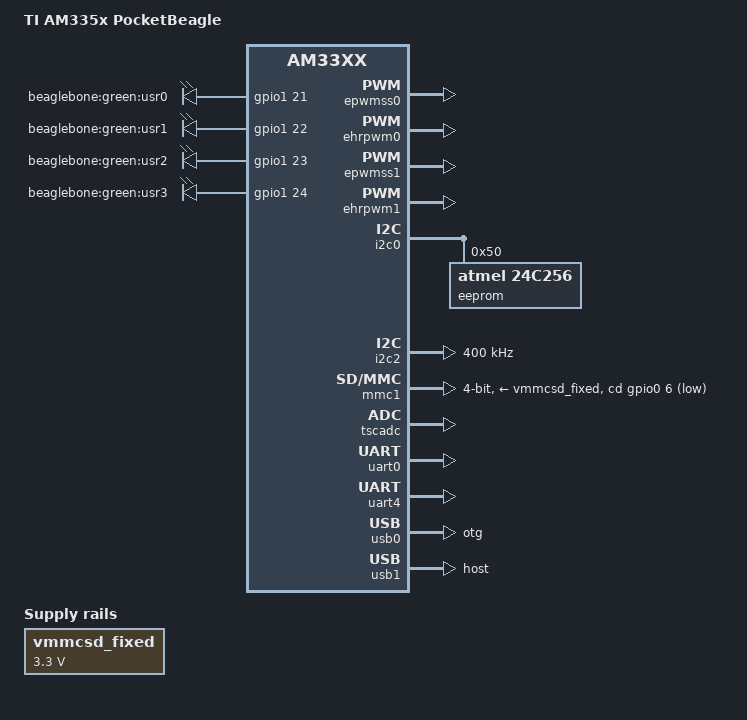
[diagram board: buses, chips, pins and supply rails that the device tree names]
// SPDX-License-Identifier: GPL-2.0
/*
 * Copyright (C) 2012 Texas Instruments Incorporated - https://www.ti.com/
 *
 * Author: Robert Nelson <robertcnelson@gmail.com>
 */
/dts-v1/;

#include "am33xx.dtsi"
#include "am335x-osd335x-common.dtsi"

/ {
	model = "TI AM335x PocketBeagle";
	compatible = "ti,am335x-pocketbeagle", "ti,am335x-bone", "ti,am33xx";

	chosen {
		stdout-path = &uart0;
	};

	leds {
		pinctrl-names = "default";
		pinctrl-0 = <&usr_leds_pins>;

		compatible = "gpio-leds";

		led-usr0 {
			label = "beaglebone:green:usr0";
			gpios = <&gpio1 21 GPIO_ACTIVE_HIGH>;
			linux,default-trigger = "heartbeat";
			default-state = "off";
		};

		led-usr1 {
			label = "beaglebone:green:usr1";
			gpios = <&gpio1 22 GPIO_ACTIVE_HIGH>;
			linux,default-trigger = "mmc0";
			default-state = "off";
		};

		led-usr2 {
			label = "beaglebone:green:usr2";
			gpios = <&gpio1 23 GPIO_ACTIVE_HIGH>;
			linux,default-trigger = "cpu0";
			default-state = "off";
		};

		led-usr3 {
			label = "beaglebone:green:usr3";
			gpios = <&gpio1 24 GPIO_ACTIVE_HIGH>;
			default-state = "off";
		};
	};

	vmmcsd_fixed: fixedregulator0 {
		compatible = "regulator-fixed";
		regulator-name = "vmmcsd_fixed";
		regulator-min-microvolt = <3300000>;
		regulator-max-microvolt = <3300000>;
	};
};

&gpio0 {
	gpio-line-names =
		"NC",
		"NC",
		"P1.08 [SPI0_CLK]",
		"P1.10 [SPI0_MISO]",
		"P1.12 [SPI0_MOSI]",
		"P1.06 [SPI0_CS]",
		"[MMC0_CD]",
		"P2.29 [SPI1_CLK]",
		"[SYSBOOT 12]",
		"[SYSBOOT 13]",
		"[SYSBOOT 14]",
		"[SYSBOOT 15]",
		"P1.26 [I2C2_SDA]",
		"P1.28 [I2C2_SCL]",
		"P2.11 [I2C1_SDA]",
		"P2.09 [I2C1_SCL]",
		"NC",
		"NC",
		"NC",
		"P2.31 [SPI1_CS]",
		"P1.20 [PRU0.16]",
		"NC",
		"NC",
		"P2.03",
		"NC",
		"NC",
		"P1.34",
		"P2.19",
		"NC",
		"NC",
		"P2.05 [UART4_RX]",
		"P2.07 [UART4_TX]";
};

&gpio1 {
	gpio-line-names =
		"NC",
		"NC",
		"NC",
		"NC",
		"NC",
		"NC",
		"NC",
		"NC",
		"NC",
		"P2.25 [SPI1_MOSI]",
		"P1.32 [UART0_RX]",
		"P1.30 [UART0_TX]",
		"P2.24",
		"P2.33",
		"P2.22",
		"P2.18",
		"NC",
		"NC",
		"P2.01 [PWM1A]",
		"NC",
		"P2.10",
		"[USR LED 0]",
		"[USR LED 1]",
		"[USR LED 2]",
		"[USR LED 3]",
		"P2.06",
		"P2.04",
		"P2.02",
		"P2.08",
		"NC",
		"NC",
		"NC";
};

&gpio2 {
	gpio-line-names =
		"P2.20",
		"P2.17",
		"NC",
		"NC",
		"NC",
		"[EEPROM_WP]",
		"[SYSBOOT 0]",
		"[SYSBOOT 1]",
		"[SYSBOOT 2]",
		"[SYSBOOT 3]",
		"[SYSBOOT 4]",
		"[SYSBOOT 5]",
		"[SYSBOOT 6]",
		"[SYSBOOT 7]",
		"[SYSBOOT 8]",
		"[SYSBOOT 9]",
		"[SYSBOOT 10]",
		"[SYSBOOT 11]",
		"NC",
		"NC",
		"NC",
		"NC",
		"P2.35 [AIN5]",
		"P1.02 [AIN6]",
		"P1.35 [PRU1.10]",
		"P1.04 [PRU1.11]",
		"[MMC0_DAT3]",
		"[MMC0_DAT2]",
		"[MMC0_DAT1]",
		"[MMC0_DAT0]",
		"[MMC0_CLK]",
		"[MMC0_CMD]";
};

&gpio3 {
	gpio-line-names =
		"NC",
		"NC",
		"NC",
		"NC",
		"NC",
		"[I2C0_SDA]",
		"[I2C0_SCL]",
		"[JTAG EMU0]",
		"[JTAG EMU1]",
		"NC",
		"NC",
		"NC",
		"NC",
		"P1.03 [USB1]",
		"P1.36 [PWM0A]",
		"P1.33 [PRU0.1]",
		"P2.32 [PRU0.2]",
		"P2.30 [PRU0.3]",
		"P1.31 [PRU0.4]",
		"P2.34 [PRU0.5]",
		"P2.28 [PRU0.6]",
		"P1.29 [PRU0.7]",
		"NC",
		"NC",
		"NC",
		"NC",
		"NC",
		"NC",
		"NC",
		"NC",
		"NC",
		"NC";
};

&am33xx_pinmux {

	compatible = "pinconf-single";
	pinctrl-names = "default";

	pinctrl-0 =   < &P2_03_gpio &P1_34_gpio &P2_19_gpio &P2_24_gpio
			&P2_33_gpio &P2_22_gpio &P2_18_gpio &P2_10_gpio
			&P2_06_gpio &P2_04_gpio &P2_02_gpio &P2_08_gpio
			&P2_17_gpio >;

	/* P2_03 (ZCZ ball T10) gpio0_23 0x824 PIN 9 */
	P2_03_gpio: pinmux_P2_03_gpio {
		pinctrl-single,pins = <
			AM33XX_PADCONF(AM335X_PIN_GPMC_AD9, PIN_INPUT_PULLUP, MUX_MODE7)
		>;
		pinctrl-single,bias-pullup   =   < 0x10  0x10  0x00  0x18>;
		pinctrl-single,bias-pulldown   = < 0x10  0x00  0x10  0x18>;
	};

	/* P1_34 (ZCZ ball T11) gpio0_26 0x828 PIN 10 */
	P1_34_gpio: pinmux_P1_34_gpio {
		pinctrl-single,pins = <
			AM33XX_PADCONF(AM335X_PIN_GPMC_AD10, PIN_INPUT_PULLUP, MUX_MODE7)
		>;
		pinctrl-single,bias-pullup   =   < 0x10  0x10  0x00  0x18>;
		pinctrl-single,bias-pulldown   = < 0x10  0x00  0x10  0x18>;
	};

	/* P2_19 (ZCZ ball U12) gpio0_27 0x82c PIN 11 */
	P2_19_gpio: pinmux_P2_19_gpio {
		pinctrl-single,pins = <
			AM33XX_PADCONF(AM335X_PIN_GPMC_AD11, PIN_INPUT_PULLUP, MUX_MODE7)
		>;
		pinctrl-single,bias-pullup   =   < 0x10  0x10  0x00  0x18>;
		pinctrl-single,bias-pulldown   = < 0x10  0x00  0x10  0x18>;
	};

	/* P2_24 (ZCZ ball T12) gpio1_12 0x830 PIN 12 */
	P2_24_gpio: pinmux_P2_24_gpio {
		pinctrl-single,pins = <
			AM33XX_PADCONF(AM335X_PIN_GPMC_AD12, PIN_INPUT_PULLUP, MUX_MODE7)
		>;
		pinctrl-single,bias-pullup   =   < 0x10  0x10  0x00  0x18>;
		pinctrl-single,bias-pulldown   = < 0x10  0x00  0x10  0x18>;
	};

	/* P2_33 (ZCZ ball R12) gpio1_13 0x834 PIN 13 */
	P2_33_gpio: pinmux_P2_33_gpio {
		pinctrl-single,pins = <
			AM33XX_PADCONF(AM335X_PIN_GPMC_AD13, PIN_INPUT_PULLUP, MUX_MODE7)
		>;
		pinctrl-single,bias-pullup   =   < 0x10  0x10  0x00  0x18>;
		pinctrl-single,bias-pulldown   = < 0x10  0x00  0x10  0x18>;
	};

	/* P2_22 (ZCZ ball V13) gpio1_14 0x838 PIN 14 */
	P2_22_gpio: pinmux_P2_22_gpio {
		pinctrl-single,pins = <
			AM33XX_PADCONF(AM335X_PIN_GPMC_AD14, PIN_INPUT_PULLUP, MUX_MODE7)
		>;
		pinctrl-single,bias-pullup   =   < 0x10  0x10  0x00  0x18>;
		pinctrl-single,bias-pulldown   = < 0x10  0x00  0x10  0x18>;
	};

	/* P2_18 (ZCZ ball U13) gpio1_15 0x83c PIN 15 */
	P2_18_gpio: pinmux_P2_18_gpio {
		pinctrl-single,pins = <
			AM33XX_PADCONF(AM335X_PIN_GPMC_AD15, PIN_INPUT_PULLUP, MUX_MODE7)
		>;
		pinctrl-single,bias-pullup   =   < 0x10  0x10  0x00  0x18>;
		pinctrl-single,bias-pulldown   = < 0x10  0x00  0x10  0x18>;
	};

	/* P2_10 (ZCZ ball R14) gpio1_20 0x850 PIN 20 */
	P2_10_gpio: pinmux_P2_10_gpio {
		pinctrl-single,pins = <
			AM33XX_PADCONF(AM335X_PIN_GPMC_A4, PIN_INPUT_PULLUP, MUX_MODE7)
		>;
		pinctrl-single,bias-pullup   =   < 0x10  0x10  0x00  0x18>;
		pinctrl-single,bias-pulldown   = < 0x10  0x00  0x10  0x18>;
	};

	/* P2_06 (ZCZ ball U16) gpio1_25 0x864 PIN 25 */
	P2_06_gpio: pinmux_P2_06_gpio {
		pinctrl-single,pins = <
			AM33XX_PADCONF(AM335X_PIN_GPMC_A9, PIN_INPUT_PULLUP, MUX_MODE7)
		>;
		pinctrl-single,bias-pullup   =   < 0x10  0x10  0x00  0x18>;
		pinctrl-single,bias-pulldown   = < 0x10  0x00  0x10  0x18>;
	};

	/* P2_04 (ZCZ ball T16) gpio1_26 0x868 PIN 26 */
	P2_04_gpio: pinmux_P2_04_gpio {
		pinctrl-single,pins = <
			AM33XX_PADCONF(AM335X_PIN_GPMC_A10, PIN_INPUT_PULLUP, MUX_MODE7)
		>;
		pinctrl-single,bias-pullup   =   < 0x10  0x10  0x00  0x18>;
		pinctrl-single,bias-pulldown   = < 0x10  0x00  0x10  0x18>;
	};

	/* P2_02 (ZCZ ball V17) gpio1_27 0x86c PIN 27 */
	P2_02_gpio: pinmux_P2_02_gpio {
		pinctrl-single,pins = <
			AM33XX_PADCONF(AM335X_PIN_GPMC_A11, PIN_INPUT_PULLUP, MUX_MODE7)
		>;
		pinctrl-single,bias-pullup   =   < 0x10  0x10  0x00  0x18>;
		pinctrl-single,bias-pulldown   = < 0x10  0x00  0x10  0x18>;
	};

	/* P2_08 (ZCZ ball U18) gpio1_28 0x878 PIN 30 */
	P2_08_gpio: pinmux_P2_08_gpio {
		pinctrl-single,pins = <
			AM33XX_PADCONF(AM335X_PIN_GPMC_BEN1, PIN_INPUT_PULLDOWN, MUX_MODE7)
		>;
		pinctrl-single,bias-pullup   =   < 0x00  0x10  0x00  0x18>;
		pinctrl-single,bias-pulldown   = < 0x00  0x00  0x10  0x18>;
	};

	/* P2_17 (ZCZ ball V12) gpio2_1 0x88c PIN 35 */
	P2_17_gpio: pinmux_P2_17_gpio {
		pinctrl-single,pins = <
			AM33XX_PADCONF(AM335X_PIN_GPMC_CLK, PIN_INPUT_PULLUP, MUX_MODE7)
		>;
		pinctrl-single,bias-pullup   =   < 0x10  0x10  0x00  0x18>;
		pinctrl-single,bias-pulldown   = < 0x10  0x00  0x10  0x18>;
	};

	i2c2_pins: pinmux-i2c2-pins {
		pinctrl-single,pins = <
			AM33XX_PADCONF(AM335X_PIN_UART1_RTSN, PIN_INPUT_PULLUP, MUX_MODE3)	/* (D17) uart1_rtsn.I2C2_SCL */
			AM33XX_PADCONF(AM335X_PIN_UART1_CTSN, PIN_INPUT_PULLUP, MUX_MODE3)	/* (D18) uart1_ctsn.I2C2_SDA */
		>;
	};

	ehrpwm0_pins: pinmux-ehrpwm0-pins {
		pinctrl-single,pins = <
			AM33XX_PADCONF(AM335X_PIN_MCASP0_ACLKX, PIN_OUTPUT_PULLDOWN, MUX_MODE1)	/* (A13) mcasp0_aclkx.ehrpwm0A */
		>;
	};

	ehrpwm1_pins: pinmux-ehrpwm1-pins {
		pinctrl-single,pins = <
			AM33XX_PADCONF(AM335X_PIN_GPMC_A2, PIN_OUTPUT_PULLDOWN, MUX_MODE6)	/* (U14) gpmc_a2.ehrpwm1A */
		>;
	};

	mmc0_pins: pinmux-mmc0-pins {
		pinctrl-single,pins = <
			AM33XX_PADCONF(AM335X_PIN_SPI0_CS1, PIN_INPUT, MUX_MODE7)		/* (C15) spi0_cs1.gpio0[6] */
			AM33XX_PADCONF(AM335X_PIN_MMC0_DAT0, PIN_INPUT_PULLUP, MUX_MODE0)
			AM33XX_PADCONF(AM335X_PIN_MMC0_DAT1, PIN_INPUT_PULLUP, MUX_MODE0)
			AM33XX_PADCONF(AM335X_PIN_MMC0_DAT2, PIN_INPUT_PULLUP, MUX_MODE0)
			AM33XX_PADCONF(AM335X_PIN_MMC0_DAT3, PIN_INPUT_PULLUP, MUX_MODE0)
			AM33XX_PADCONF(AM335X_PIN_MMC0_CMD, PIN_INPUT_PULLUP, MUX_MODE0)
			AM33XX_PADCONF(AM335X_PIN_MMC0_CLK, PIN_INPUT_PULLUP, MUX_MODE0)
		>;
	};

	spi0_pins: pinmux-spi0-pins {
		pinctrl-single,pins = <
			AM33XX_PADCONF(AM335X_PIN_SPI0_SCLK, PIN_INPUT_PULLUP, MUX_MODE0)
			AM33XX_PADCONF(AM335X_PIN_SPI0_D0, PIN_INPUT_PULLUP, MUX_MODE0)
			AM33XX_PADCONF(AM335X_PIN_SPI0_D1, PIN_INPUT_PULLUP, MUX_MODE0)
			AM33XX_PADCONF(AM335X_PIN_SPI0_CS0, PIN_INPUT_PULLUP, MUX_MODE0)
		>;
	};

	spi1_pins: pinmux-spi1-pins {
		pinctrl-single,pins = <
			AM33XX_PADCONF(AM335X_PIN_ECAP0_IN_PWM0_OUT, PIN_INPUT_PULLUP, MUX_MODE4)	/* (C18) eCAP0_in_PWM0_out.spi1_sclk */
			AM33XX_PADCONF(AM335X_PIN_UART0_CTSN, PIN_INPUT_PULLUP, MUX_MODE4)	/* (E18) uart0_ctsn.spi1_d0 */
			AM33XX_PADCONF(AM335X_PIN_UART0_RTSN, PIN_INPUT_PULLUP, MUX_MODE4)	/* (E17) uart0_rtsn.spi1_d1 */
			AM33XX_PADCONF(AM335X_PIN_XDMA_EVENT_INTR0, PIN_INPUT_PULLUP, MUX_MODE4)	/* (A15) xdma_event_intr0.spi1_cs1 */
		>;
	};

	usr_leds_pins: pinmux-usr-leds-pins {
		pinctrl-single,pins = <
			AM33XX_PADCONF(AM335X_PIN_GPMC_A5, PIN_OUTPUT, MUX_MODE7)		/* (V15) gpmc_a5.gpio1[21] - USR_LED_0 */
			AM33XX_PADCONF(AM335X_PIN_GPMC_A6, PIN_OUTPUT, MUX_MODE7)		/* (U15) gpmc_a6.gpio1[22] - USR_LED_1 */
			AM33XX_PADCONF(AM335X_PIN_GPMC_A7, PIN_OUTPUT, MUX_MODE7)		/* (T15) gpmc_a7.gpio1[23] - USR_LED_2 */
			AM33XX_PADCONF(AM335X_PIN_GPMC_A8, PIN_OUTPUT, MUX_MODE7)		/* (V16) gpmc_a8.gpio1[24] - USR_LED_3 */
		>;
	};

	uart0_pins: pinmux-uart0-pins {
		pinctrl-single,pins = <
			AM33XX_PADCONF(AM335X_PIN_UART0_RXD, PIN_INPUT_PULLUP, MUX_MODE0)
			AM33XX_PADCONF(AM335X_PIN_UART0_TXD, PIN_OUTPUT_PULLDOWN, MUX_MODE0)
		>;
	};

	uart4_pins: pinmux-uart4-pins {
		pinctrl-single,pins = <
			AM33XX_PADCONF(AM335X_PIN_GPMC_WAIT0, PIN_INPUT_PULLUP, MUX_MODE6)	/* (T17) gpmc_wait0.uart4_rxd */
			AM33XX_PADCONF(AM335X_PIN_GPMC_WPN, PIN_OUTPUT_PULLDOWN, MUX_MODE6)	/* (U17) gpmc_wpn.uart4_txd */
		>;
	};
};

&epwmss0 {
	status = "okay";
};

&ehrpwm0 {
	status = "okay";
	pinctrl-names = "default";
	pinctrl-0 = <&ehrpwm0_pins>;
};

&epwmss1 {
	status = "okay";
};

&ehrpwm1 {
	status = "okay";
	pinctrl-names = "default";
	pinctrl-0 = <&ehrpwm1_pins>;
};

&i2c0 {
	eeprom: eeprom@50 {
		compatible = "atmel,24c256";
		reg = <0x50>;
	};
};

&i2c2 {
	pinctrl-names = "default";
	pinctrl-0 = <&i2c2_pins>;

	status = "okay";
	clock-frequency = <400000>;
};

&mmc1 {
	status = "okay";
	vmmc-supply = <&vmmcsd_fixed>;
	bus-width = <4>;
	pinctrl-names = "default";
	pinctrl-0 = <&mmc0_pins>;
	cd-gpios = <&gpio0 6 GPIO_ACTIVE_LOW>;
};

&rtc {
	system-power-controller;
};

&tscadc {
	status = "okay";
	adc {
		ti,adc-channels = <0 1 2 3 4 5 6 7>;
		ti,chan-step-avg = <16 16 16 16 16 16 16 16>;
		ti,chan-step-opendelay = <0x98 0x98 0x98 0x98 0x98 0x98 0x98 0x98>;
		ti,chan-step-sampledelay = <0x0 0x0 0x0 0x0 0x0 0x0 0x0 0x0>;
	};
};

&uart0 {
	pinctrl-names = "default";
	pinctrl-0 = <&uart0_pins>;

	status = "okay";
};

&uart4 {
	pinctrl-names = "default";
	pinctrl-0 = <&uart4_pins>;

	status = "okay";
};

&usb0 {
	dr_mode = "otg";
};

&usb1 {
	dr_mode = "host";
};
